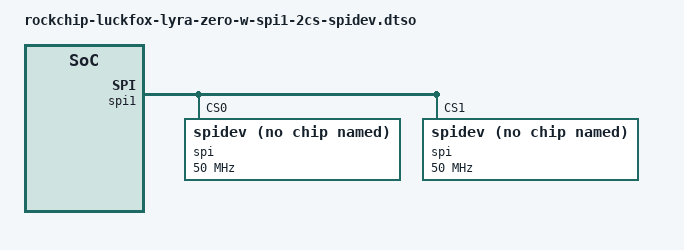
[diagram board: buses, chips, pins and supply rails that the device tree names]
// SPDX-License-Identifier: (GPL-2.0+ OR MIT)
/*
 * Enable spidev on SPI1 with explicit RM_IO pinmux:
 * MOSI = RM_IO16, MISO = RM_IO17, CLK = RM_IO18, CS0 = RM_IO14, CS1 = RM_IO3
 * Compatible with Raspberry Pi 'spi1-2cs' hats
 */

/dts-v1/;
/plugin/;

/ {
	metadata {
		title = "Enable SPI1 spidev on luckfox-lyra-zero-w with two chipselects";
		compatible = "rockchip,rk3506b-lyra-zero";
		category = "spi";
		exclusive = "spi1", "RM_IO3", "RM_IO14", "RM_IO16", "RM_IO17", "RM_IO18";
		description = "Enable SPI1 spidev using RM_IO16(MOSI), RM_IO17(MISO), RM_IO18(CLK), RM_IO14(CS0), RM_IO3(CS1).";
	};
};

&spi1 {
	status = "okay";
	num-cs = <2>;
	pinctrl-names = "default";
	pinctrl-0 = <&rm_io18_spi1_clk &rm_io17_spi1_miso &rm_io16_spi1_mosi &rm_io14_spi1_csn0 &rm_io3_spi1_csn1>;

	spi@0 {
		compatible = "rockchip,spidev";
		reg = <0>;
		spi-max-frequency = <50000000>;
		status = "okay";
	};

	spi@1 {
		compatible = "rockchip,spidev";
		reg = <1>;
		spi-max-frequency = <50000000>;
		status = "okay";
	};
};
